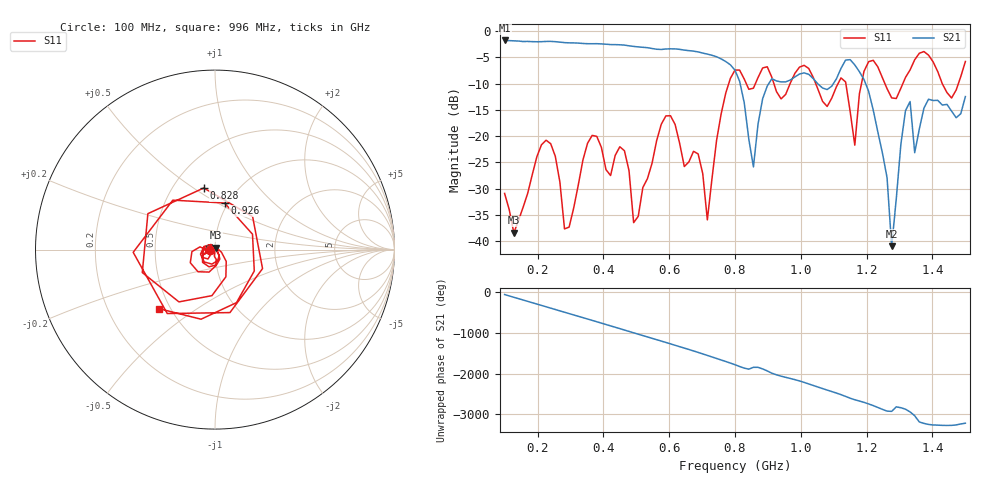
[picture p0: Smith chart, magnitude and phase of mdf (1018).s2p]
! NanoVNA-App
! Date: 2025-09-25 15:46:20
! Start: 100MHz Stop: 1,5GHz Points: 101
! S-Parameter data: F S11 S21 S12 S22
# Hz S RI R 50
!  Frequency  S11_Real  S11_Imag  S21_Real  S21_Imag  S12_Real  S12_Imag  S22_Real  S22_Imag
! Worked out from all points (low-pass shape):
!   101 points, 100 MHz to 1.5 GHz, reference 50 ohm
!   highest |S21| = -1.81 dB at 100 MHz (marker M1); lowest = -41.0 dB at 1.276 GHz (marker M2)
!   |S21| within 3 dB of the highest: start of sweep to 739 MHz
!   lowest |S11| = -38.4 dB at 128 MHz (marker M3), VSWR 1.02, Z = 50.4 + j1.13 ohm
!   |S11| at or under -10 dB: start of sweep to 781.1 MHz; 1.045 GHz to 1.113 GHz (68.11 MHz wide, 6.31 % of centre); 1.255 GHz to 1.31 GHz (54.78 MHz wide, 4.27 % of centre) (the widest 3 of 7)
!   S12 and S22 are empty: the file has one direction only
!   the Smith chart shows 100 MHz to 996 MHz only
!   S11 on the Smith chart (normalised r, x): 100 MHz: 0.95, -0.01; 828 MHz: 0.70, +0.55; 926 MHz: 0.96, +0.54; 996 MHz: 0.43, -0.36
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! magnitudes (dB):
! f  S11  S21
! 100 MHz  -30.9  -1.8
! 128 MHz  -38.4  -1.9
! 212 MHz  -21.7  -2.0
! 282 MHz  -37.7  -2.2
! 338 MHz  -24.5  -2.4
! 464 MHz  -22.8  -2.7
! 492 MHz  -36.5  -2.9
! 576 MHz  -17.8  -3.5
! 688 MHz  -23.4  -4.0
! 716 MHz  -35.9  -4.4
! 800 MHz  -7.4  -7.5
! 828 MHz  -9.1  -13.6
! 856 MHz  -10.9  -25.9
! 926 MHz  -11.5  -9.5
! 996 MHz  -6.9  -8.2
! 1.038 GHz  -8.9  -9.1
! 1.136 GHz  -9.7  -5.5
! 1.164 GHz  -21.7  -6.5
! 1.192 GHz  -7.7  -9.2
! 1.276 GHz  -12.7  -41.0
! 1.318 GHz  -8.8  -15.2
! 1.5 GHz  -5.8  -12.5
